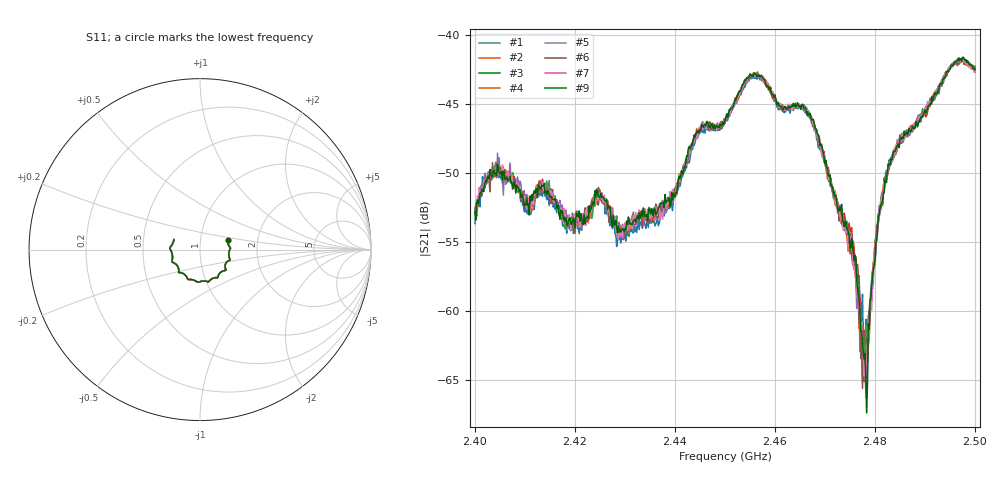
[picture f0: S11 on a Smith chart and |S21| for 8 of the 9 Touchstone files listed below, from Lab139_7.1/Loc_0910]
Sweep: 2.4 GHz to 2.5 GHz
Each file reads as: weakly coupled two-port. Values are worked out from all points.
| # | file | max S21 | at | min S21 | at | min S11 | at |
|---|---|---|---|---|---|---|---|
| 1 | Lab_139_1Ch1.s2p | -41.78 dB | 2.4968 GHz | -62.9 dB | 2.478 GHz | -15.8 dB | 2.499 GHz |
| 2 | Lab_139_2Ch1.s2p | -41.69 dB | 2.4968 GHz | -64.2 dB | 2.4782 GHz | -15.8 dB | 2.4992 GHz |
| 3 | Lab_139_3Ch1.s2p | -41.73 dB | 2.4975 GHz | -63.8 dB | 2.4783 GHz | -15.8 dB | 2.4993 GHz |
| 4 | Lab_139_4Ch1.s2p | -41.73 dB | 2.4973 GHz | -66.2 dB | 2.4782 GHz | -15.8 dB | 2.4993 GHz |
| 5 | Lab_139_5Ch1.s2p | -41.71 dB | 2.4975 GHz | -64.5 dB | 2.4783 GHz | -15.8 dB | 2.4992 GHz |
| 6 | Lab_139_7Ch1.s2p | -41.90 dB | 2.4975 GHz | -65.6 dB | 2.4775 GHz | -15.8 dB | 2.4993 GHz |
| 7 | Lab_139_8Ch1.s2p | -41.79 dB | 2.4975 GHz | -65.3 dB | 2.4782 GHz | -15.8 dB | 2.4993 GHz |
| 8 | Lab_139_9Ch1.s2p | -41.67 dB | 2.4972 GHz | -64.9 dB | 2.4782 GHz | -15.8 dB | 2.4992 GHz |
| 9 | Lab_139_10Ch1.s2p | -41.64 dB | 2.4977 GHz | -67.4 dB | 2.4783 GHz | -15.8 dB | 2.4993 GHz |
